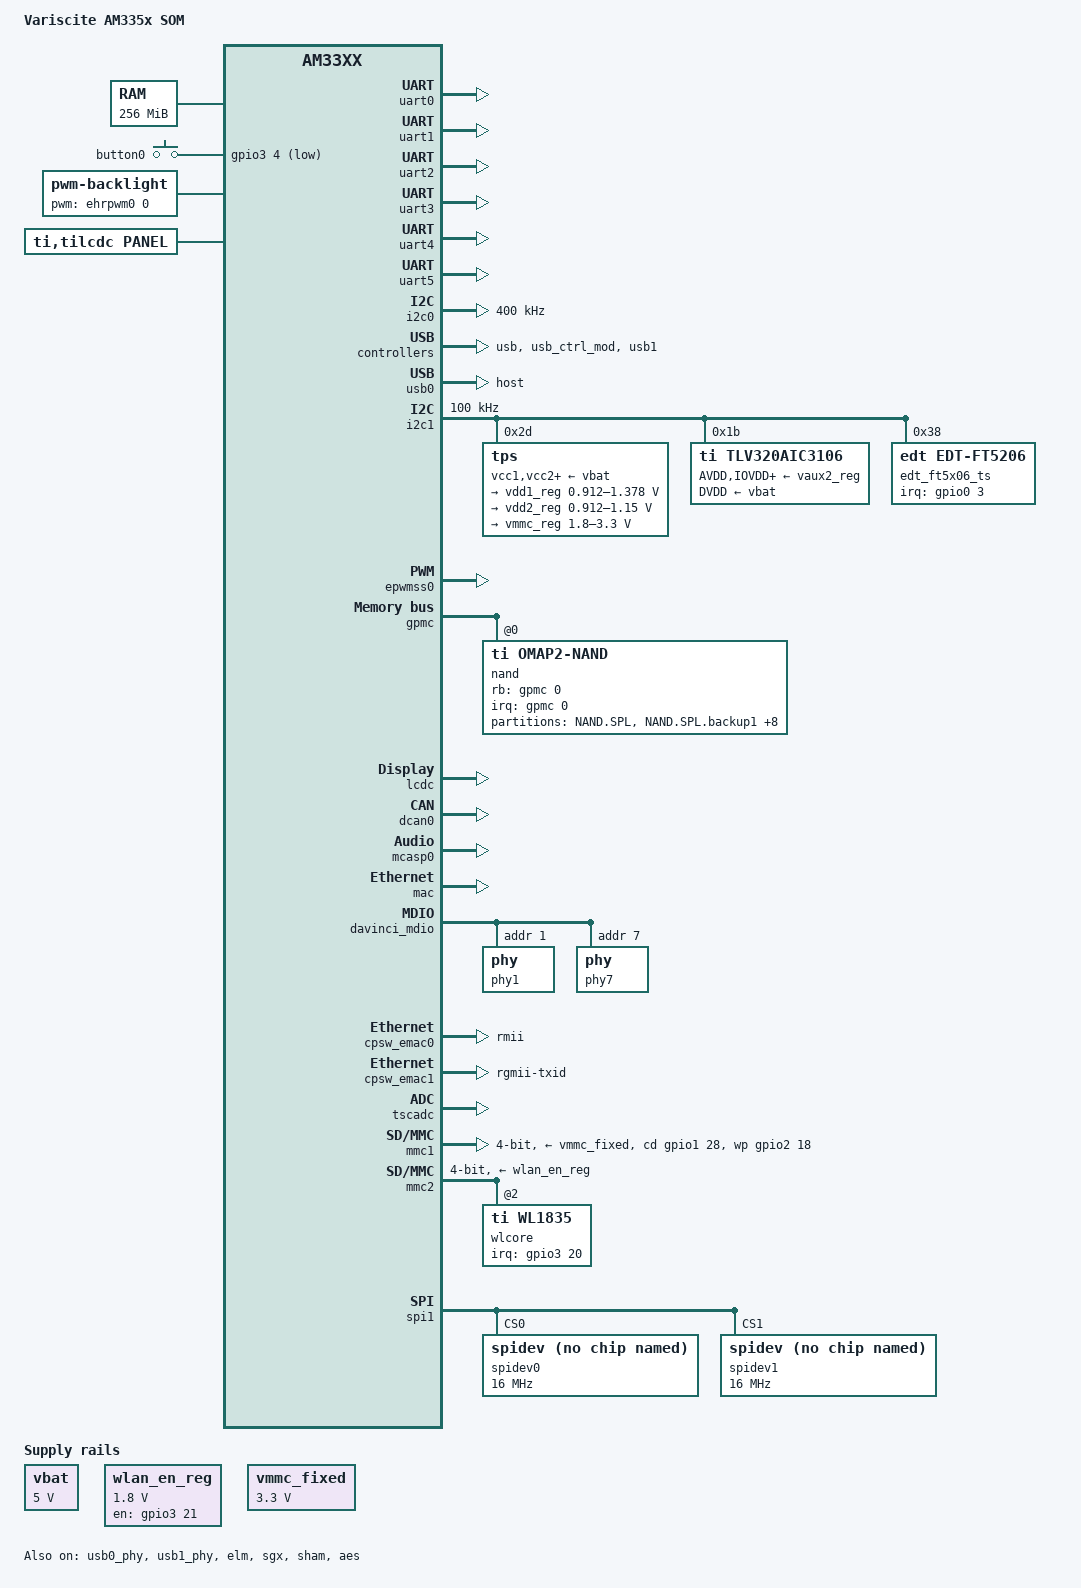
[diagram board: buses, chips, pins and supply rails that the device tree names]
/*
 * Copyright (C) 2014 Variscite LTD - http://www.variscite.com/
 *
 * This program is free software; you can redistribute it and/or modify
 * it under the terms of the GNU General Public License version 2 as
 * published by the Free Software Foundation.
 */
/dts-v1/;

#include "am33xx.dtsi"
#include <dt-bindings/interrupt-controller/irq.h>

/ {
	model = "Variscite AM335x SOM";
	compatible = "ti,var-som-am33", "ti,am33xx";

	cpus {
		cpu@0 {
			cpu0-supply = <&vdd1_reg>;
		};
	};

	memory {
		device_type = "memory";
		reg = <0x80000000 0x10000000>; /* 256 MB */
	};
	
	vbat: fixedregulator@0 {
		compatible = "regulator-fixed";
		regulator-name = "vbat";
		regulator-min-microvolt = <5000000>;
		regulator-max-microvolt = <5000000>;
		regulator-boot-on;
	};

	wlan_en_reg: fixedregulator@1 {
		compatible = "regulator-fixed";
		regulator-name = "wlan-en-regulator";
		regulator-min-microvolt = <1800000>;
		regulator-max-microvolt = <1800000>;
		gpio = <&gpio3 21 GPIO_ACTIVE_HIGH>;
		enable-active-high;
	};

	vmmc_fixed: fixedregulator@2 {
		compatible = "regulator-fixed";
		regulator-name = "vmmc_fixed";
		regulator-min-microvolt = <3300000>;
		regulator-max-microvolt = <3300000>;
		regulator-always-on;
		regulator-boot-on;
	};

	gpio_buttons: gpio_buttons@0 {
		compatible = "gpio-keys";
		#address-cells = <1>;
		#size-cells = <0>;

		switch@1 {
			label = "button0";
			linux,code = <0x100>;
			gpios = <&gpio3 4 GPIO_ACTIVE_LOW>;
			gpio-key,wakeup;
		};
	};

	backlight {
		compatible = "pwm-backlight";
		pwms = <&ehrpwm0 0 50000 0>;
		brightness-levels = <0 58 61 66 75 90 125 170 255>;
		default-brightness-level = <8>;
	};
	
	sound {
		compatible = "simple-audio-card";
		simple-audio-card,name = "VAR-SOM-AM33";
		simple-audio-card,widgets =
			"Headphone", "Headphone Jack",
			"Line", "Line In";
		simple-audio-card,routing =
			"Headphone Jack",	"HPLOUT",
			"Headphone Jack",	"HPROUT",
			"LINE1L",		"Line In",
			"LINE1R",		"Line In";
		simple-audio-card,format = "dsp_b";
		simple-audio-card,bitclock-master = <&sound_master>;
		simple-audio-card,frame-master = <&sound_master>;
		simple-audio-card,bitclock-inversion;

		simple-audio-card,cpu {
			sound-dai = <&mcasp0>;
		};

		sound_master: simple-audio-card,codec {
			sound-dai = <&tlv320aic3106>;
			system-clock-frequency = <24000000>;
		};
	};

	panel {
		compatible = "ti,tilcdc,panel";
		status = "okay";
		pinctrl-names = "default";
		pinctrl-0 = <&lcd_pins>;
		panel-info {
			ac-bias           = <255>;
			ac-bias-intrpt    = <0>;
			dma-burst-sz      = <16>;
			bpp               = <32>;
			fdd               = <0x80>;
			sync-edge         = <0>;
			sync-ctrl         = <1>;
			raster-order      = <0>;
			fifo-th           = <0>;
		};

		display-timings {
			800x480p62 {
				clock-frequency = <30000000>;
				hactive = <800>;
				vactive = <480>;
				hfront-porch = <39>;
				hback-porch = <39>;
				hsync-len = <47>;
				vback-porch = <29>;
				vfront-porch = <13>;
				vsync-len = <2>;
				hsync-active = <1>;
				vsync-active = <1>;
			};
		};
	};
#if 0
	kim {
		compatible = "kim";
 		nshutdown_gpio = <105>; /* Bank3, pin9 */
 		dev_name = "/dev/ttyS1";
 		flow_cntrl = <1>;
 		baud_rate = <3000000>;
 	};
 	
 	btwilink {
		compatible = "btwilink";
	};
#endif
};
	
&am33xx_pinmux {
		pinctrl-names = "default";
		pinctrl-0 = <&gpio_keys_s0 &clkout1_pin>;

		i2c0_pins: pinmux_i2c0_pins {
			pinctrl-single,pins = <
				0x188 (PIN_INPUT_PULLUP | MUX_MODE0)	/* i2c0_sda.i2c0_sda */
				0x18c (PIN_INPUT_PULLUP | MUX_MODE0)	/* i2c0_scl.i2c0_scl */
			>;
		};

		i2c1_pins: pinmux_i2c1_pins {
			pinctrl-single,pins = <
				0x158 (PIN_INPUT_PULLUP | MUX_MODE2)	/* spi0_d1.i2c1_sda */
				0x15c (PIN_INPUT_PULLUP | MUX_MODE2)	/* spi0_cs0.i2c1_scl */
			>;
		};

		uart0_pins: pinmux_uart0_pins {
			pinctrl-single,pins = <
				0x170 (PIN_INPUT_PULLUP | MUX_MODE0)	/* uart0_rxd.uart0_rxd */
				0x174 (PIN_OUTPUT_PULLDOWN | MUX_MODE0)	/* uart0_txd.uart0_txd */
			>;
		};

		uart1_pins_default: pinmux_uart1_pins_default {
			pinctrl-single,pins = <
				0x178 (PIN_INPUT | MUX_MODE0)			/* uart1_ctsn.uart1_ctsn */
				0x17C (PIN_OUTPUT_PULLDOWN | MUX_MODE0)	/* uart1_rtsn.uart1_rtsn */
				0x180 (PIN_INPUT_PULLUP | MUX_MODE0)	/* uart1_rxd.uart1_rxd */
				0x184 (PIN_OUTPUT | MUX_MODE0)			/* uart1_txd.uart1_txd */
			>;
		};

		uart1_pins_sleep: pinmux_uart1_pins_sleep {
			pinctrl-single,pins = <
				0x178 (PIN_INPUT_PULLDOWN | MUX_MODE7)
				0x17C (PIN_INPUT_PULLDOWN | MUX_MODE7)
				0x180 (PIN_INPUT_PULLDOWN | MUX_MODE7)
				0x184 (PIN_INPUT_PULLDOWN | MUX_MODE7)
			>;
		};

		clkout1_pin: pinmux_clkout1_pin {
			pinctrl-single,pins = <
				0x1b0 (PIN_OUTPUT_PULLDOWN | MUX_MODE3)	/* xdma_event_intr0.clkout1 */
			>;
		};

		nandflash_pins_default: nandflash_pins_default {
			pinctrl-single,pins = <
				0x0 (PIN_INPUT_PULLUP | MUX_MODE0)	/* gpmc_ad0.gpmc_ad0 */
				0x4 (PIN_INPUT_PULLUP | MUX_MODE0)	/* gpmc_ad1.gpmc_ad1 */
				0x8 (PIN_INPUT_PULLUP | MUX_MODE0)	/* gpmc_ad2.gpmc_ad2 */
				0xc (PIN_INPUT_PULLUP | MUX_MODE0)	/* gpmc_ad3.gpmc_ad3 */
				0x10 (PIN_INPUT_PULLUP | MUX_MODE0)	/* gpmc_ad4.gpmc_ad4 */
				0x14 (PIN_INPUT_PULLUP | MUX_MODE0)	/* gpmc_ad5.gpmc_ad5 */
				0x18 (PIN_INPUT_PULLUP | MUX_MODE0)	/* gpmc_ad6.gpmc_ad6 */
				0x1c (PIN_INPUT_PULLUP | MUX_MODE0)	/* gpmc_ad7.gpmc_ad7 */
				0x70 (PIN_INPUT_PULLUP | MUX_MODE0)	/* gpmc_wait0.gpmc_wait0 */
				0x74 (PIN_INPUT_PULLUP | MUX_MODE7)	/* gpmc_wpn.gpio0_30 */
				0x7c (PIN_OUTPUT | MUX_MODE0)		/* gpmc_csn0.gpmc_csn0  */
				0x90 (PIN_OUTPUT | MUX_MODE0)		/* gpmc_advn_ale.gpmc_advn_ale */
				0x94 (PIN_OUTPUT | MUX_MODE0)		/* gpmc_oen_ren.gpmc_oen_ren */
				0x98 (PIN_OUTPUT | MUX_MODE0)		/* gpmc_wen.gpmc_wen */
				0x9c (PIN_OUTPUT | MUX_MODE0)		/* gpmc_ben0_cle.gpmc_ben0_cle */
			>;
		};

		nandflash_pins_sleep: nandflash_pins_sleep {
			pinctrl-single,pins = <
				0x0 (PIN_INPUT_PULLDOWN | MUX_MODE7)
				0x4 (PIN_INPUT_PULLDOWN | MUX_MODE7)
				0x8 (PIN_INPUT_PULLDOWN | MUX_MODE7)
				0xc (PIN_INPUT_PULLDOWN | MUX_MODE7)
				0x10 (PIN_INPUT_PULLDOWN | MUX_MODE7)
				0x14 (PIN_INPUT_PULLDOWN | MUX_MODE7)
				0x18 (PIN_INPUT_PULLDOWN | MUX_MODE7)
				0x1c (PIN_INPUT_PULLDOWN | MUX_MODE7)
				0x70 (PIN_INPUT_PULLDOWN | MUX_MODE7)
				0x74 (PIN_INPUT_PULLDOWN | MUX_MODE7)
				0x7c (PIN_INPUT_PULLDOWN | MUX_MODE7)
				0x90 (PIN_INPUT_PULLDOWN | MUX_MODE7)
				0x94 (PIN_INPUT_PULLDOWN | MUX_MODE7)
				0x98 (PIN_INPUT_PULLDOWN | MUX_MODE7)
				0x9c (PIN_INPUT_PULLDOWN | MUX_MODE7)
			>;
		};

		ehrpwm_pins: backlight_pins {
			pinctrl-single,pins = <
				0x150 0x3	/* spi0_sclk.ehrpwm0A | MODE 3 */
			>;
		};

		cpsw_default: cpsw_default {
			pinctrl-single,pins = <
				/* Slave 1 */
				0x10c (PIN_INPUT_PULLDOWN | MUX_MODE1)     /* mii1_crs.rmii1_crs_dv */
				0x110 (PIN_INPUT_PULLDOWN | MUX_MODE1)     /* mii1_rxerr.rmii1_rxerr */
				0x114 (PIN_OUTPUT | MUX_MODE1)             /* mii1_txen.rmii1_txen */
				0x124 (PIN_OUTPUT | MUX_MODE1)             /* mii1_txd1.rmii1_txd1 */
				0x128 (PIN_OUTPUT | MUX_MODE1)             /* mii1_txd0.rmii1_txd0 */
				0x13c (PIN_INPUT_PULLDOWN | MUX_MODE1)     /* mii1_rxd1.rmii1_rxd1 */
				0x140 (PIN_INPUT_PULLDOWN | MUX_MODE1)     /* mii1_rxd0.rmii1_rxd0 */
				0x144 (PIN_INPUT_PULLDOWN | MUX_MODE0)     /* rmii1_refclk.rmii1_refclk */
				0x138 (PIN_INPUT_PULLUP | MUX_MODE7)       /* mii1_rxd2.gpio2_19 */

				/* Slave 2 */
				0x40 (PIN_OUTPUT | MUX_MODE2)	           /* gpmc_a0.rgmii2_tctl */
				0x44 (PIN_INPUT_PULLDOWN | MUX_MODE2)	   /* gpmc_a1.rgmii2_rctl */
				0x48 (PIN_OUTPUT | MUX_MODE2)	           /* gpmc_a2.rgmii2_td3 */
				0x4c (PIN_OUTPUT | MUX_MODE2)              /* gpmc_a3.rgmii2_td2 */
				0x50 (PIN_OUTPUT | MUX_MODE2)              /* gpmc_a4.rgmii2_td1 */
				0x54 (PIN_OUTPUT | MUX_MODE2)              /* gpmc_a5.rgmii2_td0 */
				0x58 (PIN_OUTPUT | MUX_MODE2)              /* gpmc_a6.rgmii2_tclk */
				0x5c (PIN_INPUT_PULLDOWN | MUX_MODE2)      /* gpmc_a7.rgmii2_rclk */
				0x60 (PIN_INPUT_PULLDOWN | MUX_MODE2)      /* gpmc_a8.rgmii2_rd3 */
				0x64 (PIN_INPUT_PULLDOWN | MUX_MODE2)      /* gpmc_a9.rgmii2_rd2 */
				0x68 (PIN_INPUT_PULLDOWN | MUX_MODE2)      /* gpmc_a10.rgmii2_rd1 */
				0x6c (PIN_INPUT_PULLDOWN | MUX_MODE2)      /* gpmc_a11.rgmii2_rd0 */
				0x108 (PIN_INPUT_PULLDOWN | MUX_MODE1)     /* mii1_col.rmii2_refclk */
				0x130 (PIN_INPUT_PULLUP | MUX_MODE7)       /* mii1_rxclk.gpio3_10 */
			>;
		};

		cpsw_sleep: cpsw_sleep {
			pinctrl-single,pins = <
				/* Slave 1 reset value */
				0x10c (PIN_INPUT_PULLDOWN | MUX_MODE7)
				0x110 (PIN_INPUT_PULLDOWN | MUX_MODE7)
				0x114 (PIN_INPUT_PULLDOWN | MUX_MODE7)
				0x124 (PIN_INPUT_PULLDOWN | MUX_MODE7)
				0x128 (PIN_INPUT_PULLDOWN | MUX_MODE7)
				0x13c (PIN_INPUT_PULLDOWN | MUX_MODE7)
				0x140 (PIN_INPUT_PULLDOWN | MUX_MODE7)
				0x144 (PIN_INPUT_PULLDOWN | MUX_MODE7)
				0x138 (PIN_INPUT_PULLUP   | MUX_MODE7)       /* mii1_rxd2.gpio2_19 */

				/* Slave 2 reset value */
				0x40 (PIN_INPUT_PULLDOWN | MUX_MODE7) 
				0x44 (PIN_INPUT_PULLDOWN | MUX_MODE7)
				0x48 (PIN_INPUT_PULLDOWN | MUX_MODE7)
				0x4c (PIN_INPUT_PULLDOWN | MUX_MODE7)
				0x50 (PIN_INPUT_PULLDOWN | MUX_MODE7)
				0x54 (PIN_INPUT_PULLDOWN | MUX_MODE7)
				0x58 (PIN_INPUT_PULLDOWN | MUX_MODE7)
				0x5c (PIN_INPUT_PULLDOWN | MUX_MODE7)
				0x60 (PIN_INPUT_PULLDOWN | MUX_MODE7)
				0x64 (PIN_INPUT_PULLDOWN | MUX_MODE7)
				0x68 (PIN_INPUT_PULLDOWN | MUX_MODE7)
				0x6c (PIN_INPUT_PULLDOWN | MUX_MODE7)
			>;
		};

		davinci_mdio_default: davinci_mdio_default {
			pinctrl-single,pins = <
				/* MDIO */
				0x148 (PIN_INPUT_PULLUP | SLEWCTRL_FAST | MUX_MODE0)	/* mdio_data.mdio_data */
				0x14c (PIN_OUTPUT_PULLUP | MUX_MODE0)			/* mdio_clk.mdio_clk */
			>;
		};

		davinci_mdio_sleep: davinci_mdio_sleep {
			pinctrl-single,pins = <
				/* MDIO reset value */
				0x148 (PIN_INPUT_PULLDOWN | MUX_MODE7)
				0x14c (PIN_INPUT_PULLDOWN | MUX_MODE7)
			>;
		};

		mmc1_pins_default: pinmux_mmc1_pins {
			pinctrl-single,pins = <
				0x0F0 (PIN_INPUT_PULLUP | MUX_MODE0)	/* mmc0_dat3.mmc0_dat3 */
				0x0F4 (PIN_INPUT_PULLUP | MUX_MODE0)	/* mmc0_dat2.mmc0_dat2 */
				0x0F8 (PIN_INPUT_PULLUP | MUX_MODE0)	/* mmc0_dat1.mmc0_dat1 */
				0x0FC (PIN_INPUT_PULLUP | MUX_MODE0)	/* mmc0_dat0.mmc0_dat0 */
				0x100 (PIN_INPUT_PULLUP | MUX_MODE0)	/* mmc0_clk.mmc0_clk */
				0x104 (PIN_INPUT_PULLUP | MUX_MODE0)	/* mmc0_cmd.mmc0_cmd */
				0x78  (PIN_INPUT_PULLUP | MUX_MODE7)	/* gpmc_ben1.gpio1_28 */
				0x134 (PIN_INPUT_PULLUP | MUX_MODE7)	/* mii1_rxd3.gpio2_18 */
			>;
		};

		mmc1_pins_sleep: pinmux_mmc1_pins_sleep {
			pinctrl-single,pins = <
				0x0F0 (PIN_INPUT_PULLDOWN | MUX_MODE7)
				0x0F4 (PIN_INPUT_PULLDOWN | MUX_MODE7)
				0x0F8 (PIN_INPUT_PULLDOWN | MUX_MODE7)
				0x0FC (PIN_INPUT_PULLDOWN | MUX_MODE7)
				0x100 (PIN_INPUT_PULLDOWN | MUX_MODE7)
				0x104 (PIN_INPUT_PULLDOWN | MUX_MODE7)
				0x78  (PIN_INPUT_PULLDOWN | MUX_MODE7)
				0x134 (PIN_INPUT_PULLDOWN | MUX_MODE7)
			>;
		};

		lcd_pins: lcd_pins {
			pinctrl-single,pins = <
				0xa0 0x00	/* lcd_data0.lcd_data0, OUTPUT | MODE0 */
				0xa4 0x00	/* lcd_data1.lcd_data1, OUTPUT | MODE0 */
				0xa8 0x00	/* lcd_data2.lcd_data2, OUTPUT | MODE0 */
				0xac 0x00	/* lcd_data3.lcd_data3, OUTPUT | MODE0 */
				0xb0 0x00	/* lcd_data4.lcd_data4, OUTPUT | MODE0 */
				0xb4 0x00	/* lcd_data5.lcd_data5, OUTPUT | MODE0 */
				0xb8 0x00	/* lcd_data6.lcd_data6, OUTPUT | MODE0 */
				0xbc 0x00	/* lcd_data7.lcd_data7, OUTPUT | MODE0 */
				0xc0 0x00	/* lcd_data8.lcd_data8, OUTPUT | MODE0 */
				0xc4 0x00	/* lcd_data9.lcd_data9, OUTPUT | MODE0 */
				0xc8 0x00	/* lcd_data10.lcd_data10, OUTPUT | MODE0 */
				0xcc 0x00	/* lcd_data11.lcd_data11, OUTPUT | MODE0 */
				0xd0 0x00	/* lcd_data12.lcd_data12, OUTPUT | MODE0 */
				0xd4 0x00	/* lcd_data13.lcd_data13, OUTPUT | MODE0 */
				0xd8 0x00	/* lcd_data14.lcd_data14, OUTPUT | MODE0 */
				0xdc 0x00	/* lcd_data15.lcd_data15, OUTPUT | MODE0 */
				0xe0 0x00	/* lcd_vsync.lcd_vsync, OUTPUT | MODE0 */
				0xe4 0x00	/* lcd_hsync.lcd_hsync, OUTPUT | MODE0 */
				0xe8 0x00	/* lcd_pclk.lcd_pclk, OUTPUT | MODE0 */
				0xec 0x00	/* lcd_ac_bias_en.lcd_ac_bias_en, OUTPUT | MODE0 */
			>;
		};

		gpio_keys_s0: gpio_keys_s0 {
			pinctrl-single,pins = <
				0x118 (PIN_INPUT_PULLUP | MUX_MODE7)    /* GPIO3_4 */
			>;
		};

		mcasp0_pins: mcasp0_pins {
			pinctrl-single,pins = <
				0x190 (PIN_INPUT_PULLDOWN | MUX_MODE0)  /* mcasp0_aclkx.mcasp0_aclkx */
				0x194 (PIN_INPUT_PULLDOWN | MUX_MODE0)  /* mcasp0_fsx.mcasp0_fsx */
				0x1A0 (PIN_INPUT_PULLDOWN | MUX_MODE2)  /* mcasp0_aclkr.mcasp0_axr2 */
				0x1A4 (PIN_INPUT_PULLDOWN | MUX_MODE2)  /* mcasp0_fsr.mcasp0_axr3 */
			>;
		};

		mcasp0_sleep_pins: mcasp0_sleep_pins {
			pinctrl-single,pins = <
				0x190 (PIN_INPUT_PULLDOWN | MUX_MODE7)
				0x194 (PIN_INPUT_PULLDOWN | MUX_MODE7)
				0x1A0 (PIN_INPUT_PULLDOWN | MUX_MODE7)
				0x1A4 (PIN_INPUT_PULLDOWN | MUX_MODE7)
			>;
		};

		/* wl18xx card on mmc2 */
		mmc2_pins_default: pinmux_mmc2_pins {
			pinctrl-single,pins = <
				0x20 (PIN_INPUT_PULLUP | MUX_MODE2)	/* gpmc_ad8.mmc1_dat0 */
				0x24 (PIN_INPUT_PULLUP | MUX_MODE2)	/* gpmc_ad9.mmc1_dat1 */
				0x28 (PIN_INPUT_PULLUP | MUX_MODE2)	/* gpmc_ad10.mmc1_dat2 */
				0x2c (PIN_INPUT_PULLUP | MUX_MODE2)	/* gpmc_ad11.mmc1_dat3 */
				0x84 (PIN_INPUT_PULLUP | MUX_MODE2)	/* gpmc_csn2.mmc1_cmd */
				0x80 (PIN_INPUT_PULLUP | MUX_MODE2)	/* gpmc_csn1.mmc1_clk */
			>;
		};

		mmc2_pins_sleep: pinmux_mmc2_pins_sleep {
			pinctrl-single,pins = <
				0x20 (PIN_INPUT_PULLUP | MUX_MODE7)	/* gpmc_ad8.mmc1_dat0 */
				0x24 (PIN_INPUT_PULLUP | MUX_MODE7)	/* gpmc_ad9.mmc1_dat1 */
				0x28 (PIN_INPUT_PULLUP | MUX_MODE7)	/* gpmc_ad10.mmc1_dat2 */
				0x2c (PIN_INPUT_PULLUP | MUX_MODE7)	/* gpmc_ad11.mmc1_dat3 */
				0x84 (PIN_INPUT_PULLUP | MUX_MODE7)	/* gpmc_csn2.mmc1_cmd */
				0x80 (PIN_INPUT_PULLUP | MUX_MODE7)	/* gpmc_csn1.mmc1_clk */
			>;
		};	

		/* wl18xx card enable/irq GPIOs. */
		wlan_pins_default: pinmux_wlan_pins_default {
			pinctrl-single,pins = <
				0x1AC (PIN_OUTPUT_PULLUP | MUX_MODE7)	/* mcasp0_ahclkx.gpio3_21, WL_EN */
				0x1A8 (PIN_INPUT_PULLUP  | MUX_MODE7)	/* mcasp0_axr1.gpio3_20, WL_IRQ */
				0x12C (PIN_OUTPUT_PULLDOWN | MUX_MODE7)	/* mii1_txclk.gpio3_9, BT_EN */
			>;
		};

		wlan_pins_sleep: pinmux_wlan_pins_sleep {
			pinctrl-single,pins = <
				0x1AC (PIN_OUTPUT_PULLUP | MUX_MODE7)	/* mcasp0_ahclkx.gpio3_21, WL_EN */
				0x1A8 (PIN_INPUT_PULLUP  | MUX_MODE7)	/* mcasp0_axr1.gpio3_20, WL_IRQ */
				0x12C (PIN_OUTPUT_PULLUP | MUX_MODE7)	/* mii1_txclk.gpio3_9, BT_EN */
			>;
		};

		/* Touchscreen irq GPIO. */
		edt_ft5x06_pins: pinmux_edt_pins {
			pinctrl-single,pins = <
				0x154 (PIN_INPUT | MUX_MODE7)	/* spi0_d0.gpio0_3, INPUT | MODE7 */
			>;
		};

		dcan0_default: dcan0_default_pins {
			pinctrl-single,pins = <
				0x11c (PIN_OUTPUT_PULLDOWN | MUX_MODE1)	 /* AM33XX_CONTROL_PADCONF_MII1_TXD3_OFFSET			0x091C */
				0x120 (PIN_INPUT_PULLUP | MUX_MODE1)      /* AM33XX_CONTROL_PADCONF_MII1_TXD2_OFFSET			0x0920 */
			>;
		};
		
		spi1_pins_default: pinmux_spi1_pins_default {
			pinctrl-single,pins = <
				0x164 (PIN_INPUT | MUX_MODE4)	/* ECAP0_IN_PWM0_OUT: SPI CLK */
				0x168 (PIN_INPUT | MUX_MODE4)	/* UART0_CTSN: SPI1_D0 - We set to SPI1_RX*/
				0x16C (PIN_OUTPUT | MUX_MODE4)	/* UART0_RTSN: SPI1_D1 - We set to SPI1_TX*/
				0x19C (PIN_OUTPUT | MUX_MODE3)	/* MCASP0_AHCLKR: SPI1_CS */
			>;
		};

		spi1_pins_sleep: pinmux_spi1_pins_sleep {
			pinctrl-single,pins = <
				0x164 (PIN_INPUT_PULLDOWN | MUX_MODE7)	/* ECAP0_IN_PWM0_OUT: SPI CLK */
				0x168 (PIN_INPUT_PULLDOWN | MUX_MODE7)	/* UART0_CTSN: SPI1_D0 - We set to SPI1_TX*/
				0x16C (PIN_INPUT_PULLDOWN | MUX_MODE7)	/* UART0_RTSN: SPI1_D1 - We set to SPI1_RX*/
				0x19C (PIN_INPUT_PULLDOWN | MUX_MODE7)	/* MCASP0_AHCLKR: SPI1_CS */
			>;
		};
			
	};


&uart0 {
	pinctrl-names = "default";
	pinctrl-0 = <&uart0_pins>;

	status = "okay";
};

&uart1 {
	pinctrl-names = "default", "sleep";
	pinctrl-0 = <&uart1_pins_default>;
	pinctrl-1 = <&uart1_pins_sleep>;

	status = "okay";
};

&uart2 {
	/*
	pinctrl-names = "default", "sleep";
	pinctrl-0 = <&uart2_pins_default>;
	pinctrl-1 = <&uart2_pins_sleep>;
	*/
	
	status = "okay";
};

&uart3 {
	/*
	pinctrl-names = "default", "sleep";
	pinctrl-0 = <&uart3_pins_default>;
	pinctrl-1 = <&uart3_pins_sleep>;
	*/
	
	status = "okay";
};

&uart4 {
	/*
	pinctrl-names = "default", "sleep";
	pinctrl-0 = <&uart4_pins_default>;
	pinctrl-1 = <&uart4_pins_sleep>;
	*/
	
	status = "okay";
};

&uart5 {
	/*
	pinctrl-names = "default", "sleep";
	pinctrl-0 = <&uart5_pins_default>;
	pinctrl-1 = <&uart5_pins_sleep>;
	*/
	
	status = "okay";
};

&i2c0 {
	pinctrl-names = "default";
	pinctrl-0 = <&i2c0_pins>;

	status = "okay";
	clock-frequency = <400000>;
	/* Set OPP50 (0.95V) for VDD core */
	sleep-sequence = /bits/ 8 <
		0x02 0x2d 0x25 0x1f /* Set VDD2 to 0.95V */
	>;

	/* Set OPP100 (1.10V) for VDD core */
	wake-sequence = /bits/ 8 <
		0x02 0x2d 0x25 0x2b /* Set VDD2 to 1.1V */
	>;
};

&usb {
	status = "okay";
};

&usb_ctrl_mod {
	status = "okay";
};

&usb0_phy {
	status = "okay";
};

&usb1_phy {
	status = "okay";
};

&usb0 {
	status = "okay";
	dr_mode = "host";
};

&usb1 {
	status = "okay";
};

&cppi41dma  {
	status = "okay";
};

&i2c1 {
	pinctrl-names = "default";
	pinctrl-0 = <&i2c1_pins>;

	status = "okay";
	clock-frequency = <100000>;

	tps: tps@2d {
		reg = <0x2d>;
	};

	tlv320aic3106: tlv320aic3106@1b {
		#sound-dai-cells = <0>;
		compatible = "ti,tlv320aic3106";
		reg = <0x1b>;
		status = "okay";

		/* Regulators */
		AVDD-supply = <&vaux2_reg>;
		IOVDD-supply = <&vaux2_reg>;
		DRVDD-supply = <&vaux2_reg>;
		DVDD-supply = <&vbat>;
	};
	
	edt_ft5x06_ts@38 {
		status = "okay";
		compatible = "edt,edt-ft5206";
		pinctrl-names = "default";
		pinctrl-0 = <&edt_ft5x06_pins>;
		reg = <0x38>;
		interrupt-parent = <&gpio0>;
		interrupts = <3 IRQ_TYPE_NONE>;
	};
	
};

&elm {
	status = "okay";
};

&epwmss0 {
	status = "okay";

	ehrpwm0: pwm@48300200 {
		status = "okay";
		pinctrl-names = "default";
		pinctrl-0 = <&ehrpwm_pins>;
	};
};

&gpmc {
	status = "okay";
	pinctrl-names = "default", "sleep";
	pinctrl-0 = <&nandflash_pins_default>;
	pinctrl-1 = <&nandflash_pins_sleep>;
	ranges = <0 0 0x08000000 0x10000000>;	/* CS0: NAND */
	nand@0,0 {
		compatible = "ti,omap2-nand";
		reg = <0 0 4>; /* CS0, offset 0, IO size 4 */
		interrupt-parent = <&gpmc>;
		interrupts = <0 IRQ_TYPE_NONE>, /* fifoevent */
			     <1 IRQ_TYPE_NONE>;	/* termcount */
		rb-gpios = <&gpmc 0 GPIO_ACTIVE_HIGH>; /* gpmc_wait0 */
		ti,nand-ecc-opt= "bch8";
		ti,elm-id = <&elm>;
		nand-bus-width = <8>;
		gpmc,device-width = <1>;
		gpmc,sync-clk-ps = <0>;
		gpmc,cs-on-ns = <0>;
		gpmc,cs-rd-off-ns = <44>;
		gpmc,cs-wr-off-ns = <44>;
		gpmc,adv-on-ns = <6>;
		gpmc,adv-rd-off-ns = <34>;
		gpmc,adv-wr-off-ns = <44>;
		gpmc,we-on-ns = <0>;
		gpmc,we-off-ns = <40>;
		gpmc,oe-on-ns = <0>;
		gpmc,oe-off-ns = <54>;
		gpmc,access-ns = <64>;
		gpmc,rd-cycle-ns = <82>;
		gpmc,wr-cycle-ns = <82>;
		gpmc,wait-on-read = "true";
		gpmc,wait-on-write = "true";
		gpmc,bus-turnaround-ns = <0>;
		gpmc,cycle2cycle-delay-ns = <0>;
		gpmc,clk-activation-ns = <0>;
		gpmc,wait-monitoring-ns = <0>;
		gpmc,wr-access-ns = <40>;
		gpmc,wr-data-mux-bus-ns = <0>;
		/* MTD partition table */
        /* All SPL-* partitions are sized to minimal length
		 * which can be independently programmable. For
		 * NAND flash this is equal to size of erase-block */
		#address-cells = <1>;
		#size-cells = <1>;
		partition@0 {
			label = "NAND.SPL";
			reg = <0x00000000 0x000020000>;
		};
		partition@1 {
			label = "NAND.SPL.backup1";
			reg = <0x00020000 0x00020000>;
		};
		partition@2 {
			label = "NAND.SPL.backup2";
			reg = <0x00040000 0x00020000>;
		};
		partition@3 {
			label = "NAND.SPL.backup3";
			reg = <0x00060000 0x00020000>;
		};
		partition@4 {
			label = "NAND.u-boot-spl-os";
			reg = <0x00080000 0x00040000>;
		};
		partition@5 {
			label = "NAND.u-boot";
			reg = <0x000C0000 0x00100000>;
		};
		partition@6 {
			label = "NAND.u-boot-env";
			reg = <0x001C0000 0x00020000>;
		};
		partition@7 {
			label = "NAND.u-boot-env.backup1";
			reg = <0x001E0000 0x00020000>;
		};
		partition@8 {
			label = "NAND.kernel";
			reg = <0x00200000 0x00800000>;
		};
		partition@9 {
			label = "NAND.file-system";
			reg = <0x00A00000 0x1f600000>;
		};
	};
};

&lcdc {
	status = "okay";
};

#include "tps65910.dtsi"

&dcan0 {
	pinctrl-names = "default";
	pinctrl-0 = <&dcan0_default>;
	status = "okay";
};

&mcasp0 {
		#sound-dai-cells = <0>;
		pinctrl-names = "default", "sleep";
		pinctrl-0 = <&mcasp0_pins>;
		pinctrl-1 = <&mcasp0_sleep_pins>;

		status = "okay";

		op-mode = <0>;          /* MCASP_IIS_MODE */
		tdm-slots = <2>;
		/* 16 serializer */
		serial-dir = <  /* 0: INACTIVE, 1: TX, 2: RX */
			0 0 2 1
		>;
		tx-num-evt = <32>;
		rx-num-evt = <32>;
};

&tps {

	ti,en-ck32k-xtal;

	vcc1-supply = <&vbat>;
	vcc2-supply = <&vbat>;
	vcc3-supply = <&vbat>;
	vcc4-supply = <&vbat>;
	vcc5-supply = <&vbat>;
	vcc6-supply = <&vbat>;
	vcc7-supply = <&vbat>;
	vccio-supply = <&vbat>;

	rtc0 {
		compatible = "ti,tps65910-rtc";
		interrupts = <0>;
	};

	regulators {
		vrtc_reg: regulator@0 {
			regulator-always-on;
		};

		vio_reg: regulator@1 {
			regulator-always-on;
		};

		vdd1_reg: regulator@2 {
			/* VDD_MPU voltage limits 0.95V - 1.325V with +/-4% tolerance */
			regulator-name = "vdd_mpu";
			regulator-min-microvolt = <912500>;
			regulator-max-microvolt = <1378000>;
			regulator-boot-on;
			regulator-always-on;
		};

		vdd2_reg: regulator@3 {
			/* VDD_CORE voltage limits 0.95V - 1.1V with +/-4% tolerance */
			regulator-name = "vdd_core";
			regulator-min-microvolt = <912500>;
			regulator-max-microvolt = <1150000>;
			regulator-boot-on;
			regulator-always-on;
		};

		vdd3_reg: regulator@4 {
			regulator-always-on;
		};

		vdig1_reg: regulator@5 {
			regulator-always-on;
		};

		vdig2_reg: regulator@6 {
			regulator-always-on;
		};

		vpll_reg: regulator@7 {
			regulator-always-on;
		};

		vdac_reg: regulator@8 {
			regulator-always-on;
		};

		vaux1_reg: regulator@9 {
			regulator-always-on;
		};

		vaux2_reg: regulator@10 {
			regulator-always-on;
		};

		vaux33_reg: regulator@11 {
			regulator-always-on;
		};

		vmmc_reg: regulator@12 {
			regulator-min-microvolt = <1800000>;
			regulator-max-microvolt = <3300000>;
			regulator-always-on;
		};
	};
};

&mac {
	pinctrl-names = "default", "sleep";
	pinctrl-0 = <&cpsw_default>;
	pinctrl-1 = <&cpsw_sleep>;
	dual_emac = <1>;
	status = "okay";
};

&davinci_mdio {
	pinctrl-names = "default", "sleep";
	pinctrl-0 = <&davinci_mdio_default>;
	pinctrl-1 = <&davinci_mdio_sleep>;
	status = "okay";
	
	phy1: phy@1 {
		reg = <1>;
		/*micrel,reset-regs;*/
	};

	phy7: phy@7 {
		reg = <7>;
		rxc-skew-ps = <3000>;
		rxdv-skew-ps = <0>;
		txc-skew-ps = <3000>;
		txen-skew-ps = <0>;
		rxd0-skew-ps = <0>;
        rxd1-skew-ps = <0>;
        rxd2-skew-ps = <0>;
        rxd3-skew-ps = <0>;
        txd0-skew-ps = <0>;
        txd1-skew-ps = <0>;
        txd2-skew-ps = <0>;
        txd3-skew-ps = <0>;	
	};	
};

&cpsw_emac0 {
	phy_id = <&davinci_mdio>, <1>;
	phy-mode = "rmii";
	dual_emac_res_vlan = <1>;
};

&cpsw_emac1 {
	phy_id = <&davinci_mdio>, <7>;
	phy-mode = "rgmii-txid";
	dual_emac_res_vlan = <2>;
};

&phy_sel {
	rmii-clock-ext;
};

&tscadc {
	status = "okay";
	tsc {
		ti,wires = <4>;
		ti,x-plate-resistance = <180>;
		ti,coordinate-readouts = <5>;
		ti,wire-config = <0x00 0x21 0x12 0x33>;
		ti,charge-delay = <0x700>;
		ti,alt_pins_conf;
	};

	adc {
		ti,adc-channels = <4 5 6 7>;
	};
};

&mmc1 {
	status = "okay";
	vmmc-supply = <&vmmc_fixed>;
	bus-width = <4>;
	pinctrl-names = "default", "sleep";
	pinctrl-0 = <&mmc1_pins_default>;
	pinctrl-1 = <&mmc1_pins_sleep>;
	cd-gpios = <&gpio1 28 GPIO_ACTIVE_HIGH>;
	wp-gpios = <&gpio2 18 GPIO_ACTIVE_HIGH>;
};

&mmc2 {
	status = "okay";
	vmmc-supply = <&wlan_en_reg>;
	bus-width = <4>;
	pinctrl-names = "default", "sleep";
	pinctrl-0 = <&mmc2_pins_default &wlan_pins_default>;
	pinctrl-1 = <&mmc2_pins_sleep &wlan_pins_sleep>;
	ti,non-removable;
	ti,needs-special-hs-handling;
	cap-power-off-card;
	keep-power-in-suspend;
	
	#address-cells = <1>;
	#size-cells = <0>;
	
	wlcore: wlcore@2 {
		compatible = "ti,wl1835";
		reg = <2>;
		interrupt-parent = <&gpio3>;
		interrupts = <20 IRQ_TYPE_LEVEL_HIGH>;

                /* For WL12xx card set the clock to WL12XX_REFCLOCK_38_XTAL */
                ref-clock-frequency = <38400000>;
	};	
};

&wkup_m3_ipc {
	ti,scale-data-fw = "am335x-evm-scale-data.bin";
};

&sgx {
	status = "okay";
};

&sham {
	status = "okay";
};

&aes {
	status = "okay";
};

&gpio0 {
	ti,no-reset-on-init;
};

&spi1 {
	status = "okay";

#if 0	
 /* NOTE: In order to use SPI on VAR-SOM-AM33 CustomBoard -
  *	1) Need to remove R9 and R10 resistors from the CustomBoard.
  *	2) Need to also remove U21 from the CustomBoard. 
  */

	pinctrl-names = "default", "sleep";
	pinctrl-0 = <&spi1_pins_default>;
	pinctrl-1 = <&spi1_pins_sleep>;
#endif
	spidev0: spi@0 {
		compatible = "spidev";
		reg = <0>;
		spi-max-frequency = <16000000>;
		spi-cpha;
	};

	spidev1: spi@1 {
		compatible = "spidev";
		reg = <1>;
		spi-max-frequency = <16000000>;
	};
};
